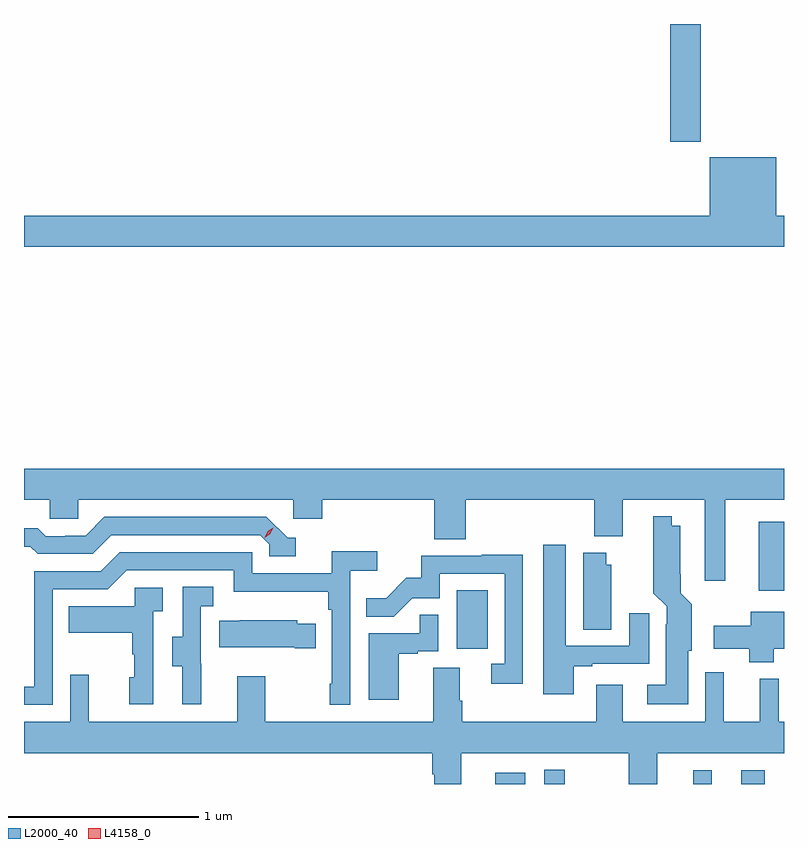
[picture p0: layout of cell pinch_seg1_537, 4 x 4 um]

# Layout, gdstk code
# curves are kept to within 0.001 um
import gdstk
lib = gdstk.Library(unit=1e-6, precision=1e-09)
def R(c, l, rs):  # rectangles x0, y0, x1, y1
    for r in rs: c.add(gdstk.rectangle(r[:2], r[2:], *l))
def P(c, l, *ps):  # polygons
    for p in ps: c.add(gdstk.Polygon(p, *l))
L2000_40 = (2000, 40)
L4158_0 = (4158, 0)

pinch_seg1_537 = lib.new_cell('pinch_seg1_537')
R(pinch_seg1_537, L2000_40, [(1037.804,523.597,1037.962,523.657), (1038.06,523.597,1038.169,523.672), (1038.845,523.597,1038.943,523.669), (1039.098,523.597,1039.222,523.669), (1037.6,524.31,1037.764,524.617), (1039.19,524.615,1039.323,524.977), (1038.725,526.977,1038.885,527.597)])
P(pinch_seg1_537, L2000_40, [(1039.323,526.588),(1039.282,526.588),(1039.282,526.897),(1038.932,526.897),(1038.932,526.588),(1035.323,526.588),(1035.323,526.424),(1039.323,526.424)],
  [(1039.015,525.092),(1039.323,525.092),(1039.323,525.256),(1035.323,525.256),(1035.323,525.092),(1035.459,525.092),(1035.459,524.994),(1035.609,524.994),(1035.609,525.092),(1036.74,525.092),(1036.74,524.994),(1036.892,524.994),(1036.892,525.092),(1037.483,525.092),(1037.483,524.884),(1037.648,524.884),(1037.648,525.092),(1038.323,525.092),(1038.323,524.9),(1038.475,524.9),(1038.475,525.092),(1038.905,525.092),(1038.905,524.667),(1039.015,524.667)],
  [(1038.82,524.298),(1038.838,524.298),(1038.838,524.543),(1038.779,524.602),(1038.778,524.956),(1038.733,524.956),(1038.733,525.007),(1038.636,525.007),(1038.635,524.602),(1038.705,524.532),(1038.705,524.438),(1038.701,524.438),(1038.701,524.119),(1038.603,524.119),(1038.603,524.018),(1038.82,524.018)],
  [(1036.753,524.892),(1036.71,524.892),(1036.599,525.003),(1035.746,525.003),(1035.647,524.904),(1035.54,524.904),(1035.54,524.901),(1035.437,524.901),(1035.395,524.944),(1035.323,524.944),(1035.323,524.847),(1035.356,524.847),(1035.395,524.808),(1035.684,524.808),(1035.783,524.907),(1036.566,524.907),(1036.614,524.859),(1036.614,524.796),(1036.753,524.796)],
  [(1038.217,524.217),(1038.313,524.217),(1038.313,524.229),(1038.613,524.229),(1038.613,524.497),(1038.509,524.497),(1038.509,524.325),(1038.175,524.325),(1038.175,524.857),(1038.056,524.857),(1038.056,524.07),(1038.217,524.07)],
  [(1035.474,524.622),(1035.765,524.622),(1035.864,524.721),(1036.428,524.721),(1036.428,524.609),(1036.924,524.609),(1036.924,524.513),(1036.944,524.513),(1036.944,524.125),(1036.932,524.125),(1036.932,524.013),(1037.04,524.013),(1037.04,524.72),(1037.182,524.72),(1037.182,524.822),(1036.943,524.822),(1036.943,524.706),(1036.524,524.706),(1036.524,524.817),(1035.827,524.817),(1035.728,524.718),(1035.378,524.718),(1035.378,524.109),(1035.323,524.109),(1035.323,524.013),(1035.474,524.013)],
  [(1038.415,524.751),(1038.388,524.751),(1038.388,524.815),(1038.266,524.815),(1038.266,524.41),(1038.415,524.41)],
  [(1037.949,524.804),(1037.731,524.804),(1037.731,524.799),(1037.413,524.799),(1037.413,524.682),(1037.336,524.682),(1037.229,524.575),(1037.125,524.575),(1037.125,524.476),(1037.269,524.476),(1037.367,524.574),(1037.511,524.574),(1037.511,524.703),(1037.853,524.703),(1037.853,524.229),(1037.781,524.229),(1037.781,524.124),(1037.949,524.124)],
  [(1036.256,524.229),(1036.254,524.229),(1036.254,524.533),(1036.318,524.533),(1036.318,524.636),(1036.158,524.636),(1036.158,524.373),(1036.103,524.373),(1036.103,524.218),(1036.157,524.218),(1036.157,524.016),(1036.256,524.016)],
  [(1036.002,524.507),(1036.054,524.507),(1036.054,524.631),(1035.906,524.631),(1035.906,524.533),(1035.559,524.533),(1035.559,524.393),(1035.894,524.393),(1035.894,524.279),(1035.904,524.279),(1035.904,524.16),(1035.878,524.16),(1035.878,524.016),(1036.002,524.016)],
  [(1039.27,524.309),(1039.323,524.309),(1039.323,524.503),(1039.148,524.503),(1039.148,524.431),(1038.954,524.431),(1038.954,524.309),(1039.141,524.309),(1039.141,524.237),(1039.27,524.237)],
  [(1037.296,524.283),(1037.396,524.283),(1037.396,524.295),(1037.502,524.295),(1037.502,524.489),(1037.407,524.489),(1037.407,524.391),(1037.138,524.391),(1037.138,524.04),(1037.296,524.04)],
  [(1036.859,524.44),(1036.761,524.44),(1036.761,524.458),(1036.459,524.458),(1036.459,524.455),(1036.351,524.455),(1036.351,524.318),(1036.748,524.318),(1036.748,524.311),(1036.859,524.311)],
  [(1037.477,523.924),(1036.593,523.924),(1036.593,524.164),(1036.445,524.164),(1036.445,523.924),(1035.665,523.924),(1035.665,524.173),(1035.567,524.173),(1035.567,523.924),(1035.323,523.924),(1035.323,523.76),(1037.471,523.76),(1037.471,523.648),(1037.483,523.648),(1037.483,523.597),(1037.623,523.597),(1037.623,523.76),(1038.507,523.76),(1038.507,523.597),(1038.655,523.597),(1038.655,523.76),(1039.323,523.76),(1039.323,523.924),(1039.295,523.924),(1039.295,524.152),(1039.196,524.152),(1039.196,523.924),(1039.007,523.924),(1039.007,524.185),(1038.909,524.185),(1038.909,523.924),(1038.475,523.924),(1038.475,524.119),(1038.335,524.119),(1038.335,523.924),(1037.63,523.924),(1037.63,524.036),(1037.617,524.036),(1037.617,524.21),(1037.477,524.21)])
P(pinch_seg1_537, L4158_0, [(1036.59,524.893),(1036.59,524.894),(1036.605,524.926),(1036.635,524.947),(1036.636,524.947),(1036.636,524.946),(1036.62,524.913),(1036.59,524.893)])

lib.write_gds('pinch_seg1_537.gds')
